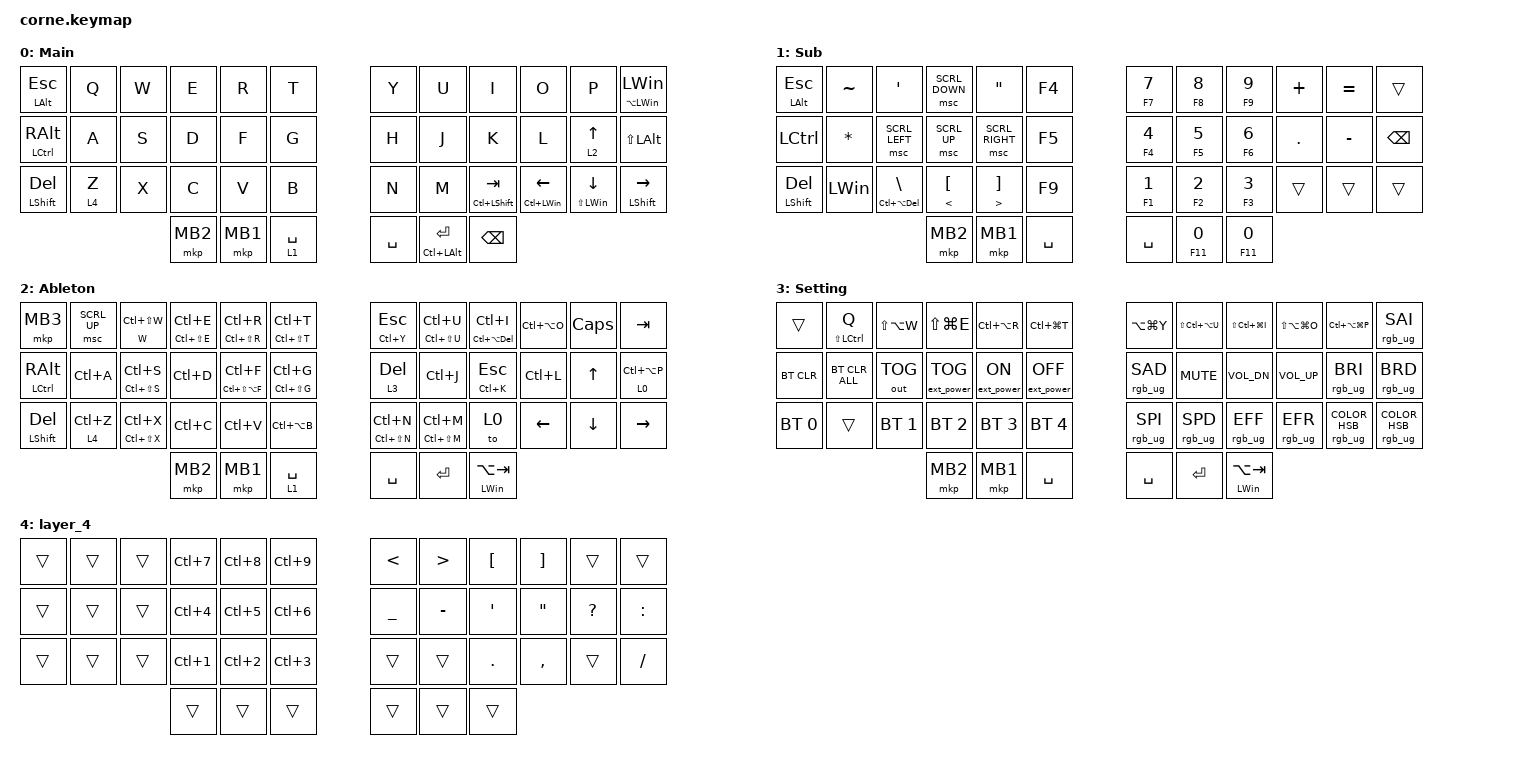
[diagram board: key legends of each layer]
/*
 * Copyright (c) 2020 The ZMK Contributors
 *
 * SPDX-License-Identifier: MIT
 */

#include <dt-bindings/led/led.h>
#include <dt-bindings/zmk/mouse.h>
#include <behaviors.dtsi>
#include <dt-bindings/zmk/bt.h>
#include <dt-bindings/zmk/ext_power.h>
#include <dt-bindings/zmk/keys.h>
#include <dt-bindings/zmk/outputs.h>
#include <dt-bindings/zmk/pointing.h>
#include <dt-bindings/zmk/pointing.h>
#include <dt-bindings/zmk/rgb.h>

&led_strip { chain-length = <42>; };

/ {
    behaviors {
        tp: tap_preferred {
            compatible = "zmk,behavior-hold-tap";
            label = "TAP_PREFERRED";
            #binding-cells = <2>;
            tapping-term-ms = <150>;
            quick-tap-ms = <0>;
            flavor = "tap-preferred";
            bindings = <&kp>, <&kp>;
        };
    };

    chosen { zmk,underglow = &led_strip; };

    combos {
        compatible = "zmk,combos";

        deviceon {
            bindings = <&ext_power EP_ON>;
            key-positions = <0 1 2>;
        };

        deviceoff {
            bindings = <&ext_power EP_OFF>;
            key-positions = <11 10 9>;
        };

        ctrl+alt {
            bindings = <&kp LC(LEFT_ALT)>;
            key-positions = <12 37>;
        };

        enter {
            bindings = <&kp ENTER>;
            key-positions = <12 38>;
        };

        left_alt+back {
            bindings = <&mt LEFT_ALT LA(LEFT_ARROW)>;
            key-positions = <12 36>;
        };

        out_toggle {
            bindings = <&out OUT_TOG>;
            key-positions = <24 16>;
        };

        BT1 {
            bindings = <&bt BT_SEL 0>;
            key-positions = <24 25>;
        };

        BT2 {
            bindings = <&bt BT_SEL 1>;
            key-positions = <24 26>;
        };

        BT3 {
            bindings = <&bt BT_SEL 2>;
            key-positions = <24 27>;
        };

        BT4 {
            bindings = <&bt BT_SEL 3>;
            key-positions = <24 28>;
        };

        BT5 {
            bindings = <&bt BT_SEL 4>;
            key-positions = <24 29>;
        };

        tab {
            bindings = <&kp TAB>;
            key-positions = <0 37>;
        };

        delete {
            bindings = <&kp DELETE>;
            key-positions = <0 36>;
        };

        caps_lock {
            bindings = <&kp CAPSLOCK>;
            key-positions = <0 38>;
        };

        ctrl_shift {
            bindings = <&kp LC(LEFT_SHIFT)>;
            key-positions = <38 25>;
        };

        scroll {
            bindings = <&mkp MB3>;
            key-positions = <37 16>;
        };

        ctrl1 {
            bindings = <&kp LC(NUMBER_1)>;
            key-positions = <37 27>;
        };

        ctrl2 {
            bindings = <&kp LC(NUMBER_2)>;
            key-positions = <37 28>;
        };

        ctrl3 {
            bindings = <&kp LC(NUMBER_3)>;
            key-positions = <37 29>;
        };

        ctrl4 {
            bindings = <&kp LC(NUMBER_4)>;
            key-positions = <37 15>;
        };

        ctrl5 {
            bindings = <&kp LC(N5)>;
            key-positions = <37 16>;
        };

        ctrl6 {
            bindings = <&kp LC(NUMBER_6)>;
            key-positions = <37 17>;
        };

        ctrl7 {
            bindings = <&kp LC(N7)>;
            key-positions = <37 3>;
        };

        ctrl8 {
            bindings = <&kp LC(N8)>;
            key-positions = <37 4>;
        };

        ctrl9 {
            bindings = <&kp LC(N9)>;
            key-positions = <37 5>;
        };

        underbar {
            bindings = <&kp UNDER>;
            key-positions = <16 18>;
        };

        hypen {
            bindings = <&kp MINUS>;
            key-positions = <16 20>;
        };

        apostrophe {
            bindings = <&kp SQT>;
            key-positions = <16 20>;
        };

        doublequotes {
            bindings = <&kp DOUBLE_QUOTES>;
            key-positions = <16 21>;
        };

        questionmark {
            bindings = <&kp QUESTION>;
            key-positions = <16 22>;
        };

        colon {
            bindings = <&kp COLON>;
            key-positions = <16 23>;
        };

        slash {
            bindings = <&kp SLASH>;
            key-positions = <16 35>;
        };

        period {
            bindings = <&kp PERIOD>;
            key-positions = <16 32>;
        };

        comma {
            bindings = <&kp COMMA>;
            key-positions = <16 33>;
        };

        altf4 {
            bindings = <&kp LA(F4)>;
            key-positions = <12 4>;
        };
    };

    keymap {
        compatible = "zmk,keymap";

        Main {
            bindings = <
&mt LEFT_ALT ESCAPE    &kp Q    &kp W  &kp E     &kp R     &kp T          &kp Y      &kp U                   &kp I                   &kp O                        &kp P                        &mt LA(LEFT_WIN) LEFT_WIN
&mt LCTRL RIGHT_ALT    &kp A    &kp S  &kp D     &kp F     &kp G          &kp H      &kp J                   &kp K                   &kp L                        &lt 2 UP_ARROW               &kp LS(LEFT_ALT)
&mt LEFT_SHIFT DELETE  &lt 4 Z  &kp X  &kp C     &kp V     &kp B          &kp N      &kp M                   &mt LC(LEFT_SHIFT) TAB  &mt LC(LEFT_WIN) LEFT_ARROW  &mt LS(LEFT_WIN) DOWN_ARROW  &mt LEFT_SHIFT RIGHT_ARROW
                                       &mkp MB2  &mkp MB1  &lt 1 SPACE    &kp SPACE  &mt LC(LEFT_ALT) ENTER  &kp BACKSPACE
            >;
        };

        Sub {
            // -----------------------------------------------------------------------------------------
            // |      |  !  |  @  |  #  |  $  |    %     |   |  ^  |  &  |  *  |  (  |  )  |   \   |
            // |      |  1  |  2  |  3  |  4  |    5     |   |  -  |  =  |  `  |  [  |  ]  |  "|"  |
            // | SHFT |  6  |  7  |  8  |  9  |    0     |   |  _  |  +  |  ~  |  {  |  }  | RSHFT |
            //                     | GUI |     | ALT/ENT |   | BKSP | HYPER/SPACE |    |

            bindings = <
&mt LEFT_ALT ESCAPE    &kp TILDE     &kp APOSTROPHE                &msc SCRL_DOWN              &kp DOUBLE_QUOTES               &kp F4       &mt F7 N7        &mt F8 N8        &mt F9 N9        &kp PLUS    &kp EQUAL  &trans
&kp LCTRL              &kp STAR      &msc SCRL_LEFT                &msc SCRL_UP                &msc SCRL_RIGHT                 &kp F5       &mt F4 NUMBER_4  &mt F5 N5        &mt F6 NUMBER_6  &kp PERIOD  &kp MINUS  &kp BACKSPACE
&mt LEFT_SHIFT DELETE  &kp LEFT_WIN  &mt LC(LA(DELETE)) BACKSLASH  &mt LESS_THAN LEFT_BRACKET  &mt GREATER_THAN RIGHT_BRACKET  &kp F9       &mt F1 NUMBER_1  &mt F2 NUMBER_2  &mt F3 NUMBER_3  &trans      &trans     &trans
                                                                   &mkp MB2                    &mkp MB1                        &kp SPACE    &kp SPACE        &mt F11 N0       &mt F11 N0
            >;
        };

        Ableton {
            bindings = <
&mkp MB3               &msc SCRL_UP  &mt W LC(LS(W))      &mt LC(LS(E)) LC(E)  &mt LC(LS(R)) LC(R)      &mt LC(LS(T)) LC(T)    &mt LC(Y) ESCAPE     &mt LC(LS(U)) LC(U)  &mt LC(LA(DELETE)) LC(I)  &kp LC(LA(O))   &kp CAPSLOCK  &kp TAB
&mt LCTRL RIGHT_ALT    &kp LC(A)     &mt LC(LS(S)) LC(S)  &kp LC(D)            &mt LC(LS(LA(F))) LC(F)  &mt LC(LS(G)) LC(G)    &lt 3 DELETE         &kp LC(J)            &mt LC(K) ESCAPE          &kp LC(L)       &kp UP_ARROW  &lt 0 LC(LA(P))
&mt LEFT_SHIFT DELETE  &lt 4 LC(Z)   &mt LC(LS(X)) LC(X)  &kp LC(C)            &kp LC(V)                &kp LC(LA(B))          &mt LC(LS(N)) LC(N)  &mt LC(LS(M)) LC(M)  &to 0                     &kp LEFT_ARROW  &kp DOWN      &kp RIGHT
                                                          &mkp MB2             &mkp MB1                 &lt 1 SPACE            &kp SPACE            &kp ENTER            &mt LEFT_WIN LA(TAB)
            >;
        };

        Setting {
            // -----------------------------------------------------------------------------------------
            // |  |  F1  |  F2  |  F3  |  F4  |  F5 |            |  F6  |  F7     |  F8     |  F9        |  F10     |     |
            // |  | Prev | Next | Vol - | Vol + | Play/Pause |   |      | LFT     | DWN     |  UP        |  RGT     |     |  HOME   |
            // |  BTCLR  | BT1 | BT2 | BT3 | BT4 | BT5 |   |            | RGB_TOG | RGB_EFF |  RGB_BRI   |  RGB_BRD |     |   END  |
            //                    |     |     |    |                  |     |     |     |

            bindings = <
&trans        &mt LS(LCTRL) Q  &kp LS(LA(W))  &kp LS(LG(E))      &kp LC(LA(R))     &kp LC(LG(T))        &kp LA(LG(Y))    &kp LS(LC(LA(U)))  &kp LS(LC(LG(I)))     &kp LS(LA(LG(O)))  &kp LC(LA(LG(P)))                 &rgb_ug RGB_SAI
&bt BT_CLR    &bt BT_CLR_ALL   &out OUT_TOG   &ext_power EP_TOG  &ext_power EP_ON  &ext_power EP_OFF    &rgb_ug RGB_SAD  &kp C_MUTE         &kp C_VOL_DN          &kp C_VOL_UP       &rgb_ug RGB_BRI                   &rgb_ug RGB_BRD
&bt BT_SEL 0  &trans           &bt BT_SEL 1   &bt BT_SEL 2       &bt BT_SEL 3      &bt BT_SEL 4         &rgb_ug RGB_SPI  &rgb_ug RGB_SPD    &rgb_ug RGB_EFF       &rgb_ug RGB_EFR    &rgb_ug RGB_COLOR_HSB(241,0,100)  &rgb_ug RGB_COLOR_HSB(0,100,34)
                                              &mkp MB2           &mkp MB1          &kp SPACE            &kp SPACE        &kp ENTER          &mt LEFT_WIN LA(TAB)
            >;
        };

        layer_4 {
            bindings = <
&trans  &trans  &trans  &kp LC(N7)        &kp LC(N8)        &kp LC(N9)          &kp LESS_THAN  &kp GREATER_THAN  &kp LEFT_BRACKET  &kp RIGHT_BRACKET  &trans        &trans
&trans  &trans  &trans  &kp LC(NUMBER_4)  &kp LC(N5)        &kp LC(NUMBER_6)    &kp UNDER      &kp MINUS         &kp SINGLE_QUOTE  &kp DOUBLE_QUOTES  &kp QUESTION  &kp COLON
&trans  &trans  &trans  &kp LC(NUMBER_1)  &kp LC(NUMBER_2)  &kp LC(NUMBER_3)    &trans         &trans            &kp DOT           &kp COMMA          &trans        &kp SLASH
                        &trans            &trans            &trans              &trans         &trans            &trans
            >;
        };
    };
};
